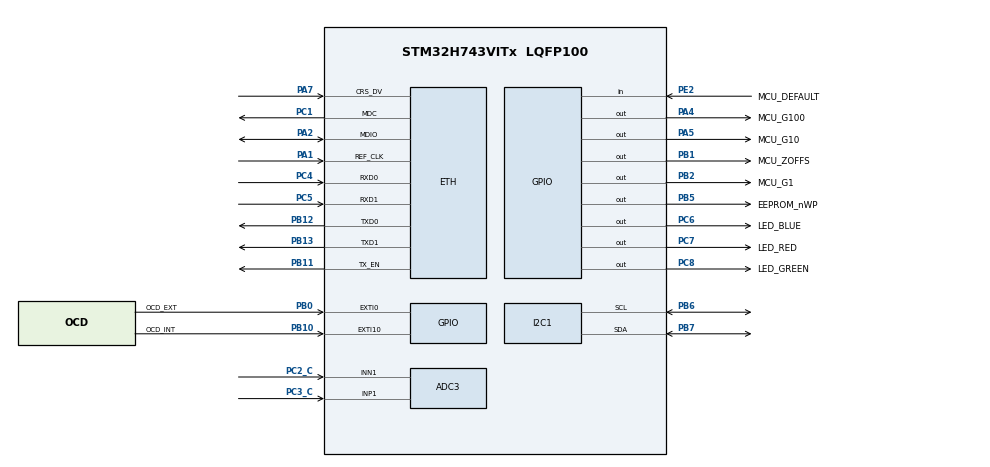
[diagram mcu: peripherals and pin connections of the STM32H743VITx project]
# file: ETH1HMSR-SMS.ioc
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ADC3.Channel-2\#ChannelRegularConversion=ADC_CHANNEL_1
ADC3.ContinuousConvMode=ENABLE
ADC3.ConversionDataManagement=ADC_CONVERSIONDATA_DMA_ONESHOT
ADC3.EOCSelection=ADC_EOC_SEQ_CONV
ADC3.EnableRegularConversion=ENABLE
ADC3.NbrOfConversionFlag=1
ADC3.OffsetNumber-2\#ChannelRegularConversion=ADC_OFFSET_NONE
ADC3.OffsetSignedSaturation-2\#ChannelRegularConversion=DISABLE
ADC3.OversamplingMode=DISABLE
ADC3.Rank-2\#ChannelRegularConversion=1
ADC3.SamplingTime-2\#ChannelRegularConversion=ADC_SAMPLETIME_1CYCLE_5
ADC3.SingleDiff-2\#ChannelRegularConversion=ADC_DIFFERENTIAL_ENDED
CORTEX_M7.AccessPermission_S-Cortex_Memory_Protection_Unit_Region1_Settings_S=MPU_REGION_FULL_ACCESS
CORTEX_M7.AccessPermission_S-Cortex_Memory_Protection_Unit_Region2_Settings_S=MPU_REGION_FULL_ACCESS
CORTEX_M7.BaseAddress_S-Cortex_Memory_Protection_Unit_Region1_Settings_S=0x30020000
CORTEX_M7.BaseAddress_S-Cortex_Memory_Protection_Unit_Region2_Settings_S=0x30040000
CORTEX_M7.CPU_DCache=Enabled
CORTEX_M7.CPU_ICache=Enabled
CORTEX_M7.DisableExec_S-Cortex_Memory_Protection_Unit_Region1_Settings_S=MPU_INSTRUCTION_ACCESS_DISABLE
CORTEX_M7.DisableExec_S-Cortex_Memory_Protection_Unit_Region2_Settings_S=MPU_INSTRUCTION_ACCESS_DISABLE
CORTEX_M7.Enable_S-Cortex_Memory_Protection_Unit_Region1_Settings_S=MPU_REGION_ENABLE
CORTEX_M7.Enable_S-Cortex_Memory_Protection_Unit_Region2_Settings_S=MPU_REGION_ENABLE
CORTEX_M7.IsBufferable_S-Cortex_Memory_Protection_Unit_Region2_Settings_S=MPU_ACCESS_BUFFERABLE
CORTEX_M7.IsShareable_S-Cortex_Memory_Protection_Unit_Region2_Settings_S=MPU_ACCESS_SHAREABLE
CORTEX_M7.Size_S-Cortex_Memory_Protection_Unit_Region1_Settings_S=MPU_REGION_SIZE_128KB
CORTEX_M7.Size_S-Cortex_Memory_Protection_Unit_Region2_Settings_S=MPU_REGION_SIZE_512B
CORTEX_M7.TypeExtField_S-Cortex_Memory_Protection_Unit_Region1_Settings_S=MPU_TEX_LEVEL1
CORTEX_M7.default_mode_Activation=1
Dma.ADC3.0.Direction=DMA_PERIPH_TO_MEMORY
Dma.ADC3.0.EventEnable=DISABLE
Dma.ADC3.0.FIFOMode=DMA_FIFOMODE_DISABLE
Dma.ADC3.0.Instance=DMA1_Stream1
Dma.ADC3.0.MemDataAlignment=DMA_MDATAALIGN_HALFWORD
Dma.ADC3.0.MemInc=DMA_MINC_ENABLE
Dma.ADC3.0.Mode=DMA_NORMAL
Dma.ADC3.0.PeriphDataAlignment=DMA_PDATAALIGN_HALFWORD
Dma.ADC3.0.PeriphInc=DMA_PINC_DISABLE
Dma.ADC3.0.Polarity=HAL_DMAMUX_REQ_GEN_RISING
Dma.ADC3.0.Priority=DMA_PRIORITY_HIGH
Dma.ADC3.0.RequestNumber=1
Dma.ADC3.0.SignalID=NONE
Dma.ADC3.0.SyncEnable=DISABLE
Dma.ADC3.0.SyncPolarity=HAL_DMAMUX_SYNC_NO_EVENT
Dma.ADC3.0.SyncRequestNumber=1
Dma.ADC3.0.SyncSignalID=NONE
Dma.Request0=ADC3
ETH.MediaInterface=HAL_ETH_RMII_MODE
FREERTOS.Tasks01=defaultTask,0,512,StartDefaultTask,Default,NULL,Static,defaultTaskBuffer,defaultTaskControlBlock
FREERTOS.configUSE_NEWLIB_REENTRANT=1
I2C1.Timing=0x307075B1
LWIP.BSP.number=1
LWIP.CMSIS_VERSION-Enabled=1
LWIP.DEFAULT_ACCEPTMBOX_SIZE=20
LWIP.DEFAULT_RAW_RECVMBOX_SIZE=20
LWIP.DEFAULT_TCP_RECVMBOX_SIZE=20
LWIP.DEFAULT_UDP_RECVMBOX_SIZE=20
LWIP.GATEWAY_ADDRESS=192.168.001.001
LWIP.IP_ADDRESS=192.168.001.017
LWIP.LWIP_DHCP=0
LWIP.LWIP_HTTPD=1
LWIP.LWIP_IGMP=1
LWIP.LWIP_MDNS=1
LWIP.LWIP_MDNS_RESPONDER=1
LWIP.LWIP_NETIF_API=1
LWIP.LWIP_NUM_NETIF_CLIENT_DATA=1
LWIP.LWIP_RAM_HEAP_POINTER=0x30020000
LWIP.LWIP_RAW=1
LWIP.LWIP_SOCKET=0
LWIP.LWIP_TCP_MAX_SACK_NUM=20
LWIP.MDNS_MAX_SERVICES=4
LWIP.MDNS_RESP_USENETIF_EXTCALLBACK=4
LWIP.MEMP_MEM_MALLOC=1
LWIP.MEMP_NUM_NETBUF=20
LWIP.MEMP_NUM_NETCONN=20
LWIP.MEMP_NUM_RAW_PCB=20
LWIP.MEMP_NUM_SELECT_CB=20
LWIP.MEMP_NUM_TCPIP_MSG_API=20
LWIP.MEMP_NUM_TCP_PCB=20
LWIP.MEMP_NUM_TCP_PCB_LISTEN=20
LWIP.MEMP_NUM_UDP_PCB=20
LWIP.MEM_SIZE=131048
LWIP.NETMASK_ADDRESS=255.255.255.000
LWIP.TCPIP_THREAD_STACKSIZE=2048
LWIP.TCP_MSS=1460
LWIP.TCP_SND_BUF=5840
LWIP.TCP_SND_QUEUELEN=16
LWIP.TCP_SYNMAXRTX=12
LWIP.Version=v2.1.2_Cube
LWIP0.BSP.STBoard=false
LWIP0.BSP.api=BSP_COMPONENT_DRIVER
LWIP0.BSP.component=LAN8742
LWIP0.BSP.instance=LAN8742
LWIP0.BSP.name=Driver_PHY
LWIP0.BSP.semaphore=S_LAN8742
LWIP0.BSP.solution=LAN8742
Mcu.Family=STM32H7
Mcu.Name=STM32H743VITx
Mcu.Package=LQFP100
NVIC.ADC3_IRQn=true\:6\:0\:true\:false\:true\:true\:true\:true\:true
NVIC.DMA1_Stream1_IRQn=true\:5\:0\:false\:false\:true\:true\:false\:true\:true
NVIC.ETH_IRQn=true\:5\:0\:false\:false\:true\:true\:true\:true\:true
NVIC.PriorityGroup=NVIC_PRIORITYGROUP_4
NVIC.TIM1_UP_IRQn=true\:15\:0\:false\:false\:true\:false\:false\:true\:true
NVIC.TIM3_IRQn=true\:15\:0\:true\:false\:true\:true\:true\:true\:true
NVIC.TimeBase=TIM1_UP_IRQn
NVIC.TimeBaseIP=TIM1
PA1.GPIO_Speed=GPIO_SPEED_FREQ_VERY_HIGH
PA1.Mode=RMII
PA1.Signal=ETH_REF_CLK
PA2.GPIO_Speed=GPIO_SPEED_FREQ_VERY_HIGH
PA2.Mode=RMII
PA2.Signal=ETH_MDIO
PA4.GPIO_Label=MCU_G100
PA4.GPIO_Speed=GPIO_SPEED_FREQ_HIGH
PA4.PinState=GPIO_PIN_RESET
PA4.Signal=GPIO_Output
PA5.GPIO_Label=MCU_G10
PA5.GPIO_Speed=GPIO_SPEED_FREQ_HIGH
PA5.PinState=GPIO_PIN_RESET
PA5.Signal=GPIO_Output
PA7.GPIO_Speed=GPIO_SPEED_FREQ_VERY_HIGH
PA7.Mode=RMII
PA7.Signal=ETH_CRS_DV
PB0.GPIO_Label=OCD_EXT
PB0.Signal=GPXTI0
PB1.GPIO_Label=MCU_ZOFFS
PB1.GPIO_Speed=GPIO_SPEED_FREQ_HIGH
PB1.Signal=GPIO_Output
PB10.GPIO_Label=OCD_INT
PB10.Signal=GPXTI10
PB11.GPIO_Speed=GPIO_SPEED_FREQ_VERY_HIGH
PB11.Mode=RMII
PB11.Signal=ETH_TX_EN
PB12.GPIO_Speed=GPIO_SPEED_FREQ_VERY_HIGH
PB12.Mode=RMII
PB12.Signal=ETH_TXD0
PB13.GPIO_Speed=GPIO_SPEED_FREQ_VERY_HIGH
PB13.Mode=RMII
PB13.Signal=ETH_TXD1
PB2.GPIO_Label=MCU_G1
PB2.GPIO_Speed=GPIO_SPEED_FREQ_HIGH
PB2.PinState=GPIO_PIN_SET
PB2.Signal=GPIO_Output
PB5.GPIO_Label=EEPROM_nWP
PB5.GPIO_Speed=GPIO_SPEED_FREQ_HIGH
PB5.PinState=GPIO_PIN_SET
PB5.Signal=GPIO_Output
PB6.Mode=I2C
PB6.Signal=I2C1_SCL
PB7.Mode=I2C
PB7.Signal=I2C1_SDA
PC1.GPIO_Speed=GPIO_SPEED_FREQ_LOW
PC1.Mode=RMII
PC1.Signal=ETH_MDC
PC2_C.Mode=IN1-Differential
PC2_C.Signal=ADC3_INN1
PC3_C.Mode=IN1-Differential
PC3_C.Signal=ADC3_INP1
PC4.GPIO_Speed=GPIO_SPEED_FREQ_VERY_HIGH
PC4.Mode=RMII
PC4.Signal=ETH_RXD0
PC5.GPIO_Speed=GPIO_SPEED_FREQ_VERY_HIGH
PC5.Mode=RMII
PC5.Signal=ETH_RXD1
PC6.GPIO_Label=LED_BLUE
PC6.PinState=GPIO_PIN_SET
PC6.Signal=GPIO_Output
PC7.GPIO_Label=LED_RED
PC7.PinState=GPIO_PIN_SET
PC7.Signal=GPIO_Output
PC8.GPIO_Label=LED_GREEN
PC8.PinState=GPIO_PIN_SET
PC8.Signal=GPIO_Output
PE2.GPIO_Label=MCU_DEFAULT
PE2.Signal=GPIO_Input
PH0-OSC_IN\ (PH0).Mode=HSE-External-Oscillator
PH0-OSC_IN\ (PH0).Signal=RCC_OSC_IN
PH1-OSC_OUT\ (PH1).Mode=HSE-External-Oscillator
PH1-OSC_OUT\ (PH1).Signal=RCC_OSC_OUT
ProjectManager.HeapSize=0x200
ProjectManager.StackSize=0x400
ProjectManager.TargetToolchain=STM32CubeIDE
RCC.ADCFreq_Value=100000000
RCC.APB1Freq_Value=120000000
RCC.APB2Freq_Value=120000000
RCC.APB3Freq_Value=120000000
RCC.APB4Freq_Value=120000000
RCC.CortexFreq_Value=480000000
RCC.D1PPRE=RCC_APB3_DIV2
RCC.D2PPRE1=RCC_APB1_DIV2
RCC.D2PPRE2=RCC_APB2_DIV2
RCC.D3PPRE=RCC_APB4_DIV2
RCC.DIVM1=2
RCC.DIVM2=2
RCC.DIVN1=120
RCC.DIVN2=100
RCC.DIVP2=8
RCC.HCLKFreq_Value=240000000
RCC.HPRE=RCC_HCLK_DIV2
RCC.HSE_VALUE=16000000
RCC.PLLSourceVirtual=RCC_PLLSOURCE_HSE
RCC.SYSCLKFreq_VALUE=480000000
RCC.SYSCLKSource=RCC_SYSCLKSOURCE_PLLCLK
RCC.USBFreq_Value=480000000
TIM3.Prescaler=14879
VP_FREERTOS_VS_CMSIS_V1.Mode=CMSIS_V1
VP_LWIP_VS_Enabled.Mode=Enabled
VP_SYS_VS_tim1.Mode=TIM1
VP_TIM3_VS_ClockSourceINT.Mode=Internal
board=custom

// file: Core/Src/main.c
/* USER CODE BEGIN Header */
/**
  ******************************************************************************
  * @file           : main.c
  * @brief          : Main program body
  ******************************************************************************
  * @attention
  *
  * Copyright (c) 2024 STMicroelectronics.
  * All rights reserved.
  *
  * This software is licensed under terms that can be found in the LICENSE file
  * in the root directory of this software component.
  * If no LICENSE file comes with this software, it is provided AS-IS.
  *
  ******************************************************************************
  */
/* USER CODE END Header */
#include "main.h"
#include "cmsis_os.h"
#include "lwip.h"

/* USER CODE BEGIN Includes */
#include "SCPI_Server.h"
#include "BSP.h"
#include "LED.h"
#include "ADC.h"
#include "UDP.h"

#include "multicastDNS.h"
#include "HTTP_Task.h"
#include "HiSLIP_Task.h"
/* USER CODE END Includes */

/* USER CODE BEGIN PD */
static void nop_delay(void)
{
	for(uint32_t i = 0; i < 5000000; i++)
	{
		__NOP();
	}
}
/* USER CODE END PD */

ADC_HandleTypeDef hadc3;
DMA_HandleTypeDef hdma_adc3;

I2C_HandleTypeDef hi2c1;

TIM_HandleTypeDef htim3;

osThreadId defaultTaskHandle;
uint32_t defaultTaskBuffer[ 512 ];
osStaticThreadDef_t defaultTaskControlBlock;
/* USER CODE BEGIN PV */
extern bsp_t bsp;
extern bsp_eeprom_t eeprom_default;
extern xQueueHandle QueueLEDHandle;
extern uint16_t adc_data[];

SemaphoreHandle_t MeasMutex;

/* USER CODE END PV */

void SystemClock_Config(void);
void PeriphCommonClock_Config(void);
static void MPU_Config(void);
static void MX_GPIO_Init(void);
static void MX_DMA_Init(void);
static void MX_ADC3_Init(void);
static void MX_I2C1_Init(void);
static void MX_TIM3_Init(void);
void StartDefaultTask(void const * argument);

int main(void)
{

  /* USER CODE BEGIN 1 */
	nop_delay(); // Delay to get mDNS working.
  /* USER CODE END 1 */

  /* MPU Configuration--------------------------------------------------------*/
  MPU_Config();

  /* Enable the CPU Cache */

  /* Enable I-Cache---------------------------------------------------------*/
  SCB_EnableICache();

  /* Enable D-Cache---------------------------------------------------------*/
  SCB_EnableDCache();

  /* MCU Configuration--------------------------------------------------------*/

  /* Reset of all peripherals, Initializes the Flash interface and the Systick. */
  HAL_Init();

  /* Configure the system clock */
  SystemClock_Config();

/* Configure the peripherals common clocks */
  PeriphCommonClock_Config();

  /* Initialize all configured peripherals */
  MX_GPIO_Init();
  MX_DMA_Init();
  MX_ADC3_Init();
  MX_I2C1_Init();
  MX_TIM3_Init();
  /* USER CODE BEGIN 2 */
  LED_Control(BLUE, true);
  HAL_Delay(100);
  BSP_Init();
  ADC_AutoCalibration();
  ADC_InitMemory();

  /* USER CODE END 2 */

  /* USER CODE BEGIN RTOS_MUTEX */
  /* add mutexes, ... */

  MeasMutex = xSemaphoreCreateMutex();

  /* USER CODE END RTOS_MUTEX */

  /* USER CODE BEGIN RTOS_QUEUES */
  /* add queues, ... */
  QueueLEDHandle = xQueueCreate(1, sizeof(uint32_t));
  /* USER CODE END RTOS_QUEUES */

  /* Create the thread(s) */
  /* definition and creation of defaultTask */
  osThreadStaticDef(defaultTask, StartDefaultTask, osPriorityNormal, 0, 512, defaultTaskBuffer, &defaultTaskControlBlock);
  defaultTaskHandle = osThreadCreate(osThread(defaultTask), NULL);

  /* Start scheduler */
  osKernelStart();

  /* We should never get here as control is now taken by the scheduler */

  /* Infinite loop */
  while (1)
  {

  }
}

void SystemClock_Config(void)
{
  LL_FLASH_SetLatency(LL_FLASH_LATENCY_4);
  while(LL_FLASH_GetLatency()!= LL_FLASH_LATENCY_4)
  {
  }
  LL_PWR_ConfigSupply(LL_PWR_LDO_SUPPLY);
  LL_PWR_SetRegulVoltageScaling(LL_PWR_REGU_VOLTAGE_SCALE0);
  while (LL_PWR_IsActiveFlag_VOS() == 0)
  {
  }
  LL_RCC_HSE_Enable();

   /* Wait till HSE is ready */
  while(LL_RCC_HSE_IsReady() != 1)
  {

  }
  LL_RCC_PLL_SetSource(LL_RCC_PLLSOURCE_HSE);
  LL_RCC_PLL1P_Enable();
  LL_RCC_PLL1_SetVCOInputRange(LL_RCC_PLLINPUTRANGE_8_16);
  LL_RCC_PLL1_SetVCOOutputRange(LL_RCC_PLLVCORANGE_WIDE);
  LL_RCC_PLL1_SetM(2);
  LL_RCC_PLL1_SetN(120);
  LL_RCC_PLL1_SetP(2);
  LL_RCC_PLL1_SetQ(2);
  LL_RCC_PLL1_SetR(2);
  LL_RCC_PLL1_Enable();

   /* Wait till PLL is ready */
  while(LL_RCC_PLL1_IsReady() != 1)
  {
  }

   /* Intermediate AHB prescaler 2 when target frequency clock is higher than 80 MHz */
   LL_RCC_SetAHBPrescaler(LL_RCC_AHB_DIV_2);

  LL_RCC_SetSysClkSource(LL_RCC_SYS_CLKSOURCE_PLL1);

   /* Wait till System clock is ready */
  while(LL_RCC_GetSysClkSource() != LL_RCC_SYS_CLKSOURCE_STATUS_PLL1)
  {

  }
  LL_RCC_SetSysPrescaler(LL_RCC_SYSCLK_DIV_1);
  LL_RCC_SetAHBPrescaler(LL_RCC_AHB_DIV_2);
  LL_RCC_SetAPB1Prescaler(LL_RCC_APB1_DIV_2);
  LL_RCC_SetAPB2Prescaler(LL_RCC_APB2_DIV_2);
  LL_RCC_SetAPB3Prescaler(LL_RCC_APB3_DIV_2);
  LL_RCC_SetAPB4Prescaler(LL_RCC_APB4_DIV_2);
  LL_SetSystemCoreClock(480000000);

   /* Update the time base */
  if (HAL_InitTick (TICK_INT_PRIORITY) != HAL_OK)
  {
    Error_Handler();
  }
}

void PeriphCommonClock_Config(void)
{
  LL_RCC_PLL2P_Enable();
  LL_RCC_PLL2_SetVCOInputRange(LL_RCC_PLLINPUTRANGE_8_16);
  LL_RCC_PLL2_SetVCOOutputRange(LL_RCC_PLLVCORANGE_WIDE);
  LL_RCC_PLL2_SetM(2);
  LL_RCC_PLL2_SetN(100);
  LL_RCC_PLL2_SetP(8);
  LL_RCC_PLL2_SetQ(2);
  LL_RCC_PLL2_SetR(2);
  LL_RCC_PLL2_Enable();

   /* Wait till PLL is ready */
  while(LL_RCC_PLL2_IsReady() != 1)
  {
  }

}

static void MX_ADC3_Init(void)
{

  ADC_ChannelConfTypeDef sConfig = {0};

  /** Common config
  */
  hadc3.Instance = ADC3;
  hadc3.Init.Resolution = ADC_RESOLUTION_16B;
  hadc3.Init.ScanConvMode = ADC_SCAN_DISABLE;
  hadc3.Init.EOCSelection = ADC_EOC_SEQ_CONV;
  hadc3.Init.LowPowerAutoWait = DISABLE;
  hadc3.Init.ContinuousConvMode = ENABLE;
  hadc3.Init.NbrOfConversion = 1;
  hadc3.Init.DiscontinuousConvMode = DISABLE;
  hadc3.Init.ExternalTrigConv = ADC_SOFTWARE_START;
  hadc3.Init.ExternalTrigConvEdge = ADC_EXTERNALTRIGCONVEDGE_NONE;
  hadc3.Init.ConversionDataManagement = ADC_CONVERSIONDATA_DMA_ONESHOT;
  hadc3.Init.Overrun = ADC_OVR_DATA_PRESERVED;
  hadc3.Init.LeftBitShift = ADC_LEFTBITSHIFT_NONE;
  hadc3.Init.OversamplingMode = DISABLE;
  if (HAL_ADC_Init(&hadc3) != HAL_OK)
  {
    Error_Handler();
  }

  /** Configure Regular Channel
  */
  sConfig.Channel = ADC_CHANNEL_1;
  sConfig.Rank = ADC_REGULAR_RANK_1;
  sConfig.SamplingTime = ADC_SAMPLETIME_1CYCLE_5;
  sConfig.SingleDiff = ADC_DIFFERENTIAL_ENDED;
  sConfig.OffsetNumber = ADC_OFFSET_NONE;
  sConfig.Offset = 0;
  sConfig.OffsetSignedSaturation = DISABLE;
  if (HAL_ADC_ConfigChannel(&hadc3, &sConfig) != HAL_OK)
  {
    Error_Handler();
  }

}

static void MX_I2C1_Init(void)
{

  hi2c1.Instance = I2C1;
  hi2c1.Init.Timing = 0x307075B1;
  hi2c1.Init.OwnAddress1 = 0;
  hi2c1.Init.AddressingMode = I2C_ADDRESSINGMODE_7BIT;
  hi2c1.Init.DualAddressMode = I2C_DUALADDRESS_DISABLE;
  hi2c1.Init.OwnAddress2 = 0;
  hi2c1.Init.OwnAddress2Masks = I2C_OA2_NOMASK;
  hi2c1.Init.GeneralCallMode = I2C_GENERALCALL_DISABLE;
  hi2c1.Init.NoStretchMode = I2C_NOSTRETCH_DISABLE;
  if (HAL_I2C_Init(&hi2c1) != HAL_OK)
  {
    Error_Handler();
  }

  /** Configure Analogue filter
  */
  if (HAL_I2CEx_ConfigAnalogFilter(&hi2c1, I2C_ANALOGFILTER_ENABLE) != HAL_OK)
  {
    Error_Handler();
  }

  /** Configure Digital filter
  */
  if (HAL_I2CEx_ConfigDigitalFilter(&hi2c1, 0) != HAL_OK)
  {
    Error_Handler();
  }

}

static void MX_TIM3_Init(void)
{

  TIM_ClockConfigTypeDef sClockSourceConfig = {0};
  TIM_MasterConfigTypeDef sMasterConfig = {0};

  htim3.Instance = TIM3;
  htim3.Init.Prescaler = 14879;
  htim3.Init.CounterMode = TIM_COUNTERMODE_UP;
  htim3.Init.Period = 65535;
  htim3.Init.ClockDivision = TIM_CLOCKDIVISION_DIV1;
  htim3.Init.AutoReloadPreload = TIM_AUTORELOAD_PRELOAD_DISABLE;
  if (HAL_TIM_Base_Init(&htim3) != HAL_OK)
  {
    Error_Handler();
  }
  sClockSourceConfig.ClockSource = TIM_CLOCKSOURCE_INTERNAL;
  if (HAL_TIM_ConfigClockSource(&htim3, &sClockSourceConfig) != HAL_OK)
  {
    Error_Handler();
  }
  sMasterConfig.MasterOutputTrigger = TIM_TRGO_RESET;
  sMasterConfig.MasterSlaveMode = TIM_MASTERSLAVEMODE_DISABLE;
  if (HAL_TIMEx_MasterConfigSynchronization(&htim3, &sMasterConfig) != HAL_OK)
  {
    Error_Handler();
  }

}

static void MX_DMA_Init(void)
{

  /* DMA controller clock enable */
  __HAL_RCC_DMA1_CLK_ENABLE();

  /* DMA interrupt init */
  /* DMA1_Stream1_IRQn interrupt configuration */
  HAL_NVIC_SetPriority(DMA1_Stream1_IRQn, 5, 0);
  HAL_NVIC_EnableIRQ(DMA1_Stream1_IRQn);

}

static void MX_GPIO_Init(void)
{
  LL_EXTI_InitTypeDef EXTI_InitStruct = {0};
  LL_GPIO_InitTypeDef GPIO_InitStruct = {0};

  /* GPIO Ports Clock Enable */
  LL_AHB4_GRP1_EnableClock(LL_AHB4_GRP1_PERIPH_GPIOE);
  LL_AHB4_GRP1_EnableClock(LL_AHB4_GRP1_PERIPH_GPIOH);
  LL_AHB4_GRP1_EnableClock(LL_AHB4_GRP1_PERIPH_GPIOC);
  LL_AHB4_GRP1_EnableClock(LL_AHB4_GRP1_PERIPH_GPIOA);
  LL_AHB4_GRP1_EnableClock(LL_AHB4_GRP1_PERIPH_GPIOB);

  /**/
  LL_GPIO_ResetOutputPin(GPIOA, MCU_G100_Pin|MCU_G10_Pin);

  /**/
  LL_GPIO_ResetOutputPin(MCU_ZOFFS_GPIO_Port, MCU_ZOFFS_Pin);

  /**/
  LL_GPIO_SetOutputPin(GPIOB, MCU_G1_Pin|EEPROM_nWP_Pin);

  /**/
  LL_GPIO_SetOutputPin(GPIOC, LED_BLUE_Pin|LED_RED_Pin|LED_GREEN_Pin);

  /**/
  GPIO_InitStruct.Pin = MCU_DEFAULT_Pin;
  GPIO_InitStruct.Mode = LL_GPIO_MODE_INPUT;
  GPIO_InitStruct.Pull = LL_GPIO_PULL_NO;
  LL_GPIO_Init(MCU_DEFAULT_GPIO_Port, &GPIO_InitStruct);

  /**/
  GPIO_InitStruct.Pin = MCU_G100_Pin|MCU_G10_Pin;
  GPIO_InitStruct.Mode = LL_GPIO_MODE_OUTPUT;
  GPIO_InitStruct.Speed = LL_GPIO_SPEED_FREQ_HIGH;
  GPIO_InitStruct.OutputType = LL_GPIO_OUTPUT_PUSHPULL;
  GPIO_InitStruct.Pull = LL_GPIO_PULL_NO;
  LL_GPIO_Init(GPIOA, &GPIO_InitStruct);

  /**/
  GPIO_InitStruct.Pin = MCU_ZOFFS_Pin|MCU_G1_Pin|EEPROM_nWP_Pin;
  GPIO_InitStruct.Mode = LL_GPIO_MODE_OUTPUT;
  GPIO_InitStruct.Speed = LL_GPIO_SPEED_FREQ_HIGH;
  GPIO_InitStruct.OutputType = LL_GPIO_OUTPUT_PUSHPULL;
  GPIO_InitStruct.Pull = LL_GPIO_PULL_NO;
  LL_GPIO_Init(GPIOB, &GPIO_InitStruct);

  /**/
  GPIO_InitStruct.Pin = LED_BLUE_Pin|LED_RED_Pin|LED_GREEN_Pin;
  GPIO_InitStruct.Mode = LL_GPIO_MODE_OUTPUT;
  GPIO_InitStruct.Speed = LL_GPIO_SPEED_FREQ_LOW;
  GPIO_InitStruct.OutputType = LL_GPIO_OUTPUT_PUSHPULL;
  GPIO_InitStruct.Pull = LL_GPIO_PULL_NO;
  LL_GPIO_Init(GPIOC, &GPIO_InitStruct);

  /**/
  LL_SYSCFG_SetEXTISource(LL_SYSCFG_EXTI_PORTB, LL_SYSCFG_EXTI_LINE0);

  /**/
  LL_SYSCFG_SetEXTISource(LL_SYSCFG_EXTI_PORTB, LL_SYSCFG_EXTI_LINE10);

  /**/
  EXTI_InitStruct.Line_0_31 = LL_EXTI_LINE_0;
  EXTI_InitStruct.Line_32_63 = LL_EXTI_LINE_NONE;
  EXTI_InitStruct.Line_64_95 = LL_EXTI_LINE_NONE;
  EXTI_InitStruct.LineCommand = ENABLE;
  EXTI_InitStruct.Mode = LL_EXTI_MODE_IT;
  EXTI_InitStruct.Trigger = LL_EXTI_TRIGGER_RISING;
  LL_EXTI_Init(&EXTI_InitStruct);

  /**/
  EXTI_InitStruct.Line_0_31 = LL_EXTI_LINE_10;
  EXTI_InitStruct.Line_32_63 = LL_EXTI_LINE_NONE;
  EXTI_InitStruct.Line_64_95 = LL_EXTI_LINE_NONE;
  EXTI_InitStruct.LineCommand = ENABLE;
  EXTI_InitStruct.Mode = LL_EXTI_MODE_IT;
  EXTI_InitStruct.Trigger = LL_EXTI_TRIGGER_RISING;
  LL_EXTI_Init(&EXTI_InitStruct);

  /**/
  LL_GPIO_SetPinPull(OCD_EXT_GPIO_Port, OCD_EXT_Pin, LL_GPIO_PULL_NO);

  /**/
  LL_GPIO_SetPinPull(OCD_INT_GPIO_Port, OCD_INT_Pin, LL_GPIO_PULL_NO);

  /**/
  LL_GPIO_SetPinMode(OCD_EXT_GPIO_Port, OCD_EXT_Pin, LL_GPIO_MODE_INPUT);

  /**/
  LL_GPIO_SetPinMode(OCD_INT_GPIO_Port, OCD_INT_Pin, LL_GPIO_MODE_INPUT);

}

void StartDefaultTask(void const * argument)
{
  /* init code for LWIP */
  MX_LWIP_Init();
  /* USER CODE BEGIN 5 */

  led_select_t  led_color_status = GREEN;

  if(bsp.default_cfg)
  {
	  led_color_status = BLUE;

  }

  vTaskDelay(pdMS_TO_TICKS(300)); // Need this wait to get lwip to work

  SCPI_CreateTask();
  UDP_CreateTask();

  if(bsp.eeprom.structure.services.hislip)
  {
	  HISLIP_CreateTask();
  }

  if(bsp.eeprom.structure.services.mdns)
  {
	  MDNS_Init();
  }

  HTTP_CreateTask();

  LED_Control(BLUE, false);
  HAL_TIM_Base_Start_IT(&htim3);

  /* Infinite loop */
  for(;;)
  {

	  if(pdTRUE == xQueueReceive(QueueLEDHandle, &led_color_status, 5U))
	  {

	  }
	  else
	  {
		  led_color_status = LED_NONE;
	  }

	  if(bsp.led)
	  {
		  switch(led_color_status)
		  {
		  	  case RED: LED_Toggle(RED, 50, 1); break;
		  	  case GREEN: LED_Toggle(GREEN, 1, 1); break;
		  	  case BLUE: LED_Toggle(BLUE, 1, 1); break;
		  	  default: vTaskDelay(pdMS_TO_TICKS(1)); break;
		  }
	  }
	  else
	  {
		  vTaskDelay(pdMS_TO_TICKS(1));
	  }

  }
  /* USER CODE END 5 */
}

 /* MPU Configuration */

void MPU_Config(void)
{
  MPU_Region_InitTypeDef MPU_InitStruct = {0};

  /* Disables the MPU */
  HAL_MPU_Disable();

  /** Initializes and configures the Region and the memory to be protected
  */
  MPU_InitStruct.Enable = MPU_REGION_ENABLE;
  MPU_InitStruct.Number = MPU_REGION_NUMBER0;
  MPU_InitStruct.BaseAddress = 0x0;
  MPU_InitStruct.Size = MPU_REGION_SIZE_4GB;
  MPU_InitStruct.SubRegionDisable = 0x87;
  MPU_InitStruct.TypeExtField = MPU_TEX_LEVEL0;
  MPU_InitStruct.AccessPermission = MPU_REGION_NO_ACCESS;
  MPU_InitStruct.DisableExec = MPU_INSTRUCTION_ACCESS_DISABLE;
  MPU_InitStruct.IsShareable = MPU_ACCESS_SHAREABLE;
  MPU_InitStruct.IsCacheable = MPU_ACCESS_NOT_CACHEABLE;
  MPU_InitStruct.IsBufferable = MPU_ACCESS_NOT_BUFFERABLE;

  HAL_MPU_ConfigRegion(&MPU_InitStruct);

  /** Initializes and configures the Region and the memory to be protected
  */
  MPU_InitStruct.Number = MPU_REGION_NUMBER1;
  MPU_InitStruct.BaseAddress = 0x30020000;
  MPU_InitStruct.Size = MPU_REGION_SIZE_128KB;
  MPU_InitStruct.SubRegionDisable = 0x0;
  MPU_InitStruct.TypeExtField = MPU_TEX_LEVEL1;
  MPU_InitStruct.AccessPermission = MPU_REGION_FULL_ACCESS;
  MPU_InitStruct.IsShareable = MPU_ACCESS_NOT_SHAREABLE;

  HAL_MPU_ConfigRegion(&MPU_InitStruct);

  /** Initializes and configures the Region and the memory to be protected
  */
  MPU_InitStruct.Number = MPU_REGION_NUMBER2;
  MPU_InitStruct.BaseAddress = 0x30040000;
  MPU_InitStruct.Size = MPU_REGION_SIZE_512B;
  MPU_InitStruct.TypeExtField = MPU_TEX_LEVEL0;
  MPU_InitStruct.IsShareable = MPU_ACCESS_SHAREABLE;
  MPU_InitStruct.IsBufferable = MPU_ACCESS_BUFFERABLE;

  HAL_MPU_ConfigRegion(&MPU_InitStruct);
  /* Enables the MPU */
  HAL_MPU_Enable(MPU_PRIVILEGED_DEFAULT);

}

void HAL_TIM_PeriodElapsedCallback(TIM_HandleTypeDef *htim)
{
  if (htim->Instance == TIM1) {
    HAL_IncTick();
  }
}

void Error_Handler(void)
{
  /* USER CODE BEGIN Error_Handler_Debug */
  /* User can add his own implementation to report the HAL error return state */
  __disable_irq();

  LED_Control(GREEN | BLUE, false);

  while (1)
  {
	  LED_Control(RED, true);
  }
  /* USER CODE END Error_Handler_Debug */
}
